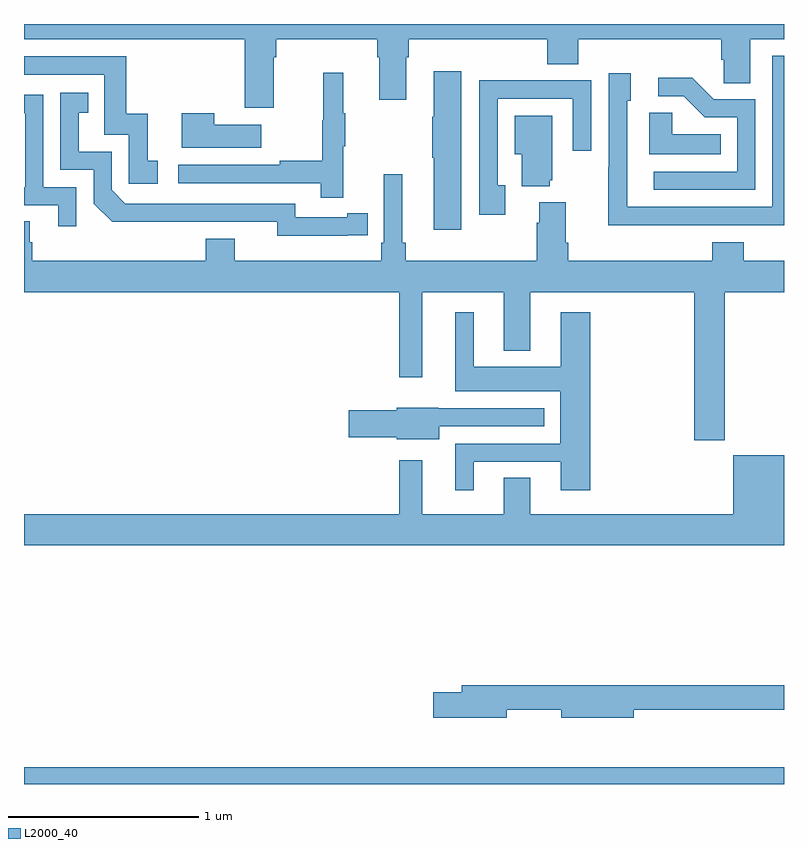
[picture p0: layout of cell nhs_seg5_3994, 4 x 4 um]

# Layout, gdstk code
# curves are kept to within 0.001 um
import gdstk
lib = gdstk.Library(unit=1e-6, precision=1e-09)
def R(c, l, rs):  # rectangles x0, y0, x1, y1
    for r in rs: c.add(gdstk.rectangle(r[:2], r[2:], *l))
def P(c, l, *ps):  # polygons
    for p in ps: c.add(gdstk.Polygon(p, *l))
L2000_40 = (2000, 40)

nhs_seg5_3994 = lib.new_cell('nhs_seg5_3994')
R(nhs_seg5_3994, L2000_40, [(345,892.799,349,892.888)])
P(nhs_seg5_3994, L2000_40, [(346.315,896.624),(346.328,896.624),(346.328,896.72),(346.859,896.72),(346.859,896.624),(346.871,896.624),(346.871,896.4),(347.011,896.4),(347.011,896.624),(347.024,896.624),(347.024,896.72),(347.753,896.72),(347.753,896.587),(347.918,896.587),(347.918,896.72),(348.671,896.72),(348.671,896.611),(348.684,896.611),(348.684,896.488),(348.823,896.488),(348.823,896.72),(349,896.72),(349,896.799),(345,896.799),(345,896.72),(346.163,896.72),(346.163,896.358),(346.315,896.358)],
  [(348.539,895.74),(349,895.74),(349,896.631),(348.939,896.631),(348.939,895.836),(348.174,895.836),(348.174,896.394),(348.193,896.394),(348.193,896.539),(348.078,896.539),(348.078,896.045),(348.076,896.045),(348.076,895.739),(348.539,895.739)],
  [(345.703,896.079),(345.65,896.079),(345.65,896.326),(345.539,896.326),(345.539,896.628),(345,896.628),(345,896.532),(345.423,896.532),(345.423,896.217),(345.552,896.217),(345.552,895.959),(345.703,895.959)],
  [(347.302,896.551),(347.156,896.551),(347.156,896.312),(347.149,896.312),(347.149,896.095),(347.156,896.095),(347.156,895.716),(347.302,895.716)],
  [(346.679,896.155),(346.69,896.155),(346.69,896.329),(346.679,896.329),(346.679,896.542),(346.576,896.542),(346.576,896.292),(346.569,896.292),(346.569,896.078),(346.345,896.078),(346.345,896.058),(345.813,896.058),(345.813,895.962),(346.561,895.962),(346.561,895.884),(346.679,895.884)],
  [(348.849,896.403),(348.63,896.403),(348.517,896.516),(348.339,896.516),(348.339,896.418),(348.473,896.418),(348.584,896.307),(348.753,896.307),(348.753,896.022),(348.315,896.022),(348.315,895.926),(348.849,895.926)],
  [(347.533,895.95),(347.493,895.95),(347.493,896.406),(347.889,896.406),(347.889,896.133),(347.985,896.133),(347.985,896.502),(347.669,896.502),(347.669,896.504),(347.397,896.504),(347.397,895.794),(347.533,895.794)],
  [(346.7,895.686),(346.808,895.686),(346.808,895.802),(346.7,895.802),(346.7,895.782),(346.428,895.782),(346.428,895.854),(345.534,895.854),(345.462,895.926),(345.462,896.127),(345.289,896.127),(345.289,896.331),(345.338,896.331),(345.338,896.437),(345.192,896.437),(345.192,896.031),(345.366,896.031),(345.366,895.854),(345.464,895.757),(346.332,895.758),(346.332,895.685)],
  [(345.276,895.941),(345.102,895.941),(345.102,896.427),(345,896.427),(345,896.33),(345.006,896.33),(345.006,895.941),(345,895.941),(345,895.845),(345.179,895.845),(345.179,895.734),(345.276,895.734)],
  [(348.668,896.218),(348.411,896.218),(348.411,896.333),(348.29,896.333),(348.29,896.114),(348.668,896.114)],
  [(346.249,896.269),(346.001,896.269),(346.001,896.329),(345.83,896.329),(345.83,896.147),(346.249,896.147)],
  [(347.768,895.977),(347.779,895.977),(347.779,896.317),(347.582,896.317),(347.582,896.114),(347.621,896.114),(347.621,895.946),(347.768,895.946)],
  [(348.623,895.651),(348.623,895.552),(347.864,895.552),(347.864,895.648),(347.851,895.648),(347.851,895.861),(347.711,895.861),(347.711,895.754),(347.699,895.754),(347.699,895.552),(347.009,895.552),(347.009,895.648),(346.99,895.648),(346.99,896.008),(346.893,896.008),(346.893,895.648),(346.88,895.648),(346.88,895.552),(346.108,895.552),(346.108,895.669),(345.956,895.669),(345.956,895.552),(345.044,895.552),(345.044,895.65),(345.031,895.65),(345.031,895.76),(345,895.76),(345,895.388),(346.974,895.388),(346.974,894.939),(347.095,894.939),(347.095,895.388),(347.525,895.388),(347.525,895.079),(347.665,895.079),(347.665,895.388),(348.527,895.388),(348.527,894.609),(348.687,894.609),(348.687,895.388),(349,895.388),(349,895.552),(348.788,895.552),(348.788,895.651)],
  [(347.368,894.495),(347.825,894.495),(347.825,894.345),(347.981,894.345),(347.981,895.282),(347.825,895.282),(347.825,894.994),(347.368,894.994),(347.368,895.282),(347.27,895.282),(347.27,894.866),(347.822,894.866),(347.822,894.591),(347.27,894.591),(347.27,894.345),(347.368,894.345)],
  [(347.185,894.681),(347.737,894.681),(347.737,894.777),(347.181,894.777),(347.181,894.778),(346.962,894.778),(346.962,894.767),(346.71,894.767),(346.71,894.625),(346.962,894.625),(346.962,894.614),(347.185,894.614)],
  [(349,894.529),(348.734,894.529),(348.734,894.22),(347.665,894.22),(347.665,894.41),(347.525,894.41),(347.525,894.22),(347.095,894.22),(347.095,894.502),(346.974,894.502),(346.974,894.22),(345,894.22),(345,894.056),(349,894.056)],
  [(347.542,893.19),(347.828,893.19),(347.828,893.147),(348.208,893.147),(348.208,893.19),(349,893.19),(349,893.318),(347.303,893.318),(347.303,893.282),(347.154,893.282),(347.154,893.147),(347.542,893.147)])

lib.write_gds('nhs_seg5_3994.gds')
